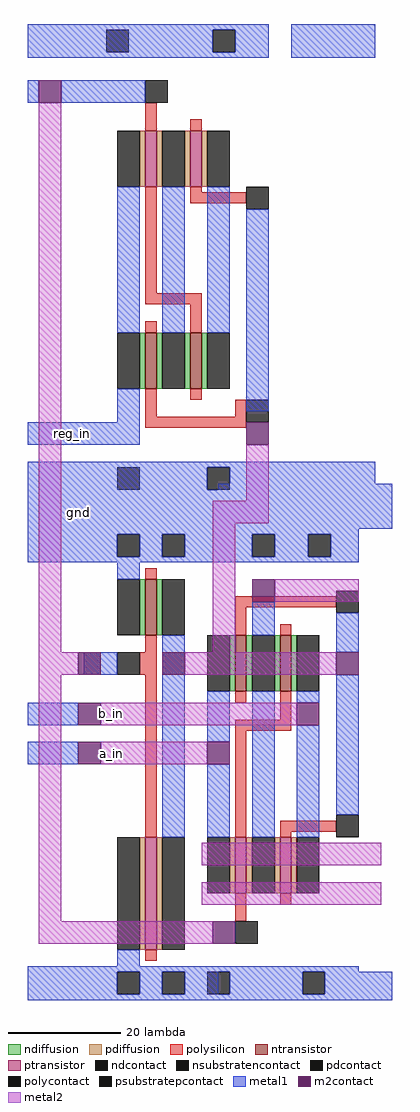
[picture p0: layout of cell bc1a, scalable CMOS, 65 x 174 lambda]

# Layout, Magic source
magic
tech scmos
<< ntransistor >>
rect 36 43 38 53
rect 44 43 46 53
<< ptransistor >>
rect 36 7 38 17
rect 44 7 46 17
<< ndiffusion >>
rect 35 43 36 53
rect 38 43 39 53
rect 43 43 44 53
rect 46 43 47 53
<< pdiffusion >>
rect 35 7 36 17
rect 38 7 39 17
rect 43 7 44 17
rect 46 7 47 17
<< ndcontact >>
rect 31 43 35 53
rect 39 43 43 53
rect 47 43 51 53
<< pdcontact >>
rect 31 7 35 17
rect 39 7 43 17
rect 47 7 51 17
<< psubstratepcontact >>
rect 39 67 43 71
rect 49 67 53 71
<< nsubstratencontact >>
rect 31 -11 35 -7
rect 48 -11 52 -7
<< polysilicon >>
rect 36 58 54 60
rect 36 53 38 58
rect 44 53 46 55
rect 36 41 38 43
rect 44 38 46 43
rect 36 36 46 38
rect 36 17 38 36
rect 44 18 54 20
rect 44 17 46 18
rect 36 2 38 7
rect 44 5 46 7
<< polycontact >>
rect 54 57 58 61
rect 54 17 58 21
rect 36 -2 40 2
<< metal1 >>
rect -1 156 30 162
rect 46 156 61 162
rect -1 148 1 152
rect 5 148 20 152
rect 23 118 27 122
rect 38 93 42 97
rect -1 87 12 91
rect -1 83 30 84
rect -1 79 28 83
rect 42 80 61 84
rect -1 78 30 79
rect 33 78 64 80
rect -1 72 64 78
rect -1 71 58 72
rect -1 66 9 71
rect 30 67 39 71
rect 43 67 49 71
rect 53 67 58 71
rect 30 66 58 67
rect 39 53 43 59
rect -1 37 8 41
rect 31 34 35 43
rect -1 30 8 34
rect 23 26 27 30
rect 31 17 35 30
rect 39 17 43 43
rect 47 41 51 43
rect 47 17 51 37
rect 54 50 58 57
rect 54 21 58 46
rect -1 -12 9 -6
rect 30 -7 58 -6
rect 30 -11 31 -7
rect 35 -11 48 -7
rect 52 -11 64 -7
rect 30 -12 64 -11
<< m2contact >>
rect 1 148 5 152
rect 38 87 42 91
rect 39 59 43 63
rect 8 46 12 50
rect 23 46 27 50
rect 8 37 12 41
rect 8 30 12 34
rect 31 30 35 34
rect 47 37 51 41
rect 54 46 58 50
rect 32 -2 36 2
<< metal2 >>
rect 1 50 5 148
rect 38 77 42 87
rect 32 73 42 77
rect 32 50 36 73
rect 43 59 58 63
rect 1 46 8 50
rect 27 46 54 50
rect 1 2 5 46
rect 12 37 47 41
rect 12 30 31 34
rect 30 12 62 16
rect 30 5 62 9
rect 1 -2 32 2
use mux21  mux21_0
transform 1 0 38 0 1 115
box -30 -37 4 47
use inverter  inverter_1
transform 1 0 13 0 -1 71
box -4 -1 20 83
<< labels >>
rlabel metal2 14 32 14 32 3 a_in
rlabel metal2 14 39 14 39 3 b_in
rlabel metal1 8 75 8 75 3 gnd
rlabel metal1 7 89 7 89 3 reg_in
<< end >>

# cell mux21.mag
magic
tech scmos
<< ntransistor >>
rect -18 -18 -16 -8
rect -10 -18 -8 -8
<< ptransistor >>
rect -18 18 -16 28
rect -10 18 -8 28
<< ndiffusion >>
rect -19 -18 -18 -8
rect -16 -18 -15 -8
rect -11 -18 -10 -8
rect -8 -18 -7 -8
<< pdiffusion >>
rect -19 18 -18 28
rect -16 18 -15 28
rect -11 18 -10 28
rect -8 18 -7 28
<< ndcontact >>
rect -23 -18 -19 -8
rect -15 -18 -11 -8
rect -7 -18 -3 -8
<< pdcontact >>
rect -23 18 -19 28
rect -15 18 -11 28
rect -7 18 -3 28
<< psubstratepcontact >>
rect -23 -36 -19 -32
rect -7 -36 -3 -32
<< nsubstratencontact >>
rect -25 42 -21 46
rect -6 42 -2 46
<< polysilicon >>
rect -18 28 -16 33
rect -10 28 -8 30
rect -18 -1 -16 18
rect -10 17 -8 18
rect -10 15 0 17
rect -18 -3 -8 -1
rect -18 -8 -16 -6
rect -10 -8 -8 -3
rect -18 -23 -16 -18
rect -10 -20 -8 -18
rect -2 -23 0 -20
rect -18 -25 0 -23
<< polycontact >>
rect -18 33 -14 37
rect 0 14 4 18
rect 0 -24 4 -20
<< metal1 >>
rect -30 46 4 47
rect -30 42 -25 46
rect -21 42 -6 46
rect -2 42 4 46
rect -30 41 4 42
rect -22 33 -18 37
rect -23 -8 -19 18
rect -15 -8 -11 18
rect -7 -8 -3 18
rect -23 -24 -19 -18
rect 0 -20 4 14
rect -30 -28 -19 -24
rect -30 -32 4 -31
rect -30 -36 -23 -32
rect -19 -36 -7 -32
rect -3 -36 4 -32
rect -30 -37 4 -36
<< labels >>
rlabel nsubstratencontact -3 43 -3 43 3 Vdd
rlabel metal1 -28 -26 -28 -26 3 In_0
rlabel metal1 -5 10 -5 11 1 in_1
rlabel metal1 -13 9 -13 9 3 Out
rlabel polycontact 2 16 2 16 0 Sel_bar
rlabel metal1 -20 35 -20 35 1 sel
<< end >>

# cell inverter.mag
magic
tech scmos
<< ntransistor >>
rect 7 8 9 18
<< ptransistor >>
rect 7 54 9 74
<< ndiffusion >>
rect 6 8 7 18
rect 9 8 10 18
<< pdiffusion >>
rect 6 54 7 74
rect 9 54 10 74
<< ndcontact >>
rect 2 8 6 18
rect 10 8 14 18
<< pdcontact >>
rect 2 54 6 74
rect 10 54 14 74
<< psubstratepcontact >>
rect 2 0 6 4
rect 10 0 14 4
<< nsubstratencontact >>
rect 2 78 6 82
rect 10 78 14 82
<< polysilicon >>
rect 7 74 9 76
rect 7 25 9 54
rect 6 21 9 25
rect 7 18 9 21
rect 7 6 9 8
<< polycontact >>
rect 2 21 6 25
<< metal1 >>
rect -4 82 20 83
rect -4 78 2 82
rect 6 78 10 82
rect 14 78 20 82
rect -4 77 20 78
rect 2 74 6 77
rect -4 21 2 25
rect 10 18 14 54
rect 2 5 6 8
rect -4 4 20 5
rect -4 0 2 4
rect 6 0 10 4
rect 14 0 20 4
rect -4 -1 20 0
<< labels >>
rlabel metal1 12 26 12 26 1 Y
rlabel metal1 -2 22 -2 22 3 A
rlabel metal1 0 80 0 80 6 vdd
rlabel metal1 0 2 0 2 8 gnd
<< end >>
